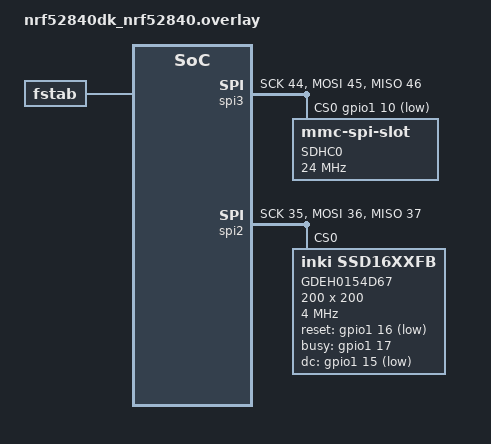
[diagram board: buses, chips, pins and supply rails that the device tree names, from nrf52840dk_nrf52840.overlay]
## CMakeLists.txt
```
# Copyright (c) 2022 INKI-Systems Inc
# Licensed under GPL 3

cmake_minimum_required(VERSION 3.20.0)
set(NO_BUILD_TYPE_WARNING 1)
find_package(Zephyr REQUIRED HINTS $ENV{ZEPHYR_BASE})
project(inki_firmware)

enable_language(ASM)

set(WAMR_BUILD_PLATFORM "zephyr")
if (CONFIG_SOC_SERIES_NRF52X)
  set(WAMR_BUILD_TARGET "THUMBV7")
elseif (CONFIG_SOC_SERIES_NRF53X)
  set(WAMR_BUILD_TARGET "THUMBV8M")
else()
  set(WAMR_BUILD_TARGET "THUMBV7")
endif()

set(WAMR_BUILD_INTERP 0)
set(WAMR_BUILD_AOT 1)
set(WAMR_BUILD_JIT 0)
set(WAMR_BUILD_APP_FRAMEWORK 1)
set(WAMR_BUILD_SHARED_MEMORY 1)
set(WAMR_BUILD_LIBC_WASI 0)
set(WAMR_BUILD_LIBC_BUILTIN 1)
set(WAMR_BUILD_FAST_INTERP 0)
set(WAMR_BUILD_LIB_PTHREAD 0)
set(WAMR_BUILD_MULTI_MODULE 1)
set(WAMR_BUILD_MINI_LOADER 0)
set (WAMR_BUILD_APP_LIST WAMR_APP_BUILD_BASE)

add_definitions(-DMARK_ONE=1)

set (LV_CONF_PATH
    ${CMAKE_CURRENT_SOURCE_DIR}/src/lv_conf.h
    CACHE STRING "" FORCE)

set (WAMR_ROOT_DIR
    ${CMAKE_CURRENT_SOURCE_DIR}/wasm)

set (MCUBOOT_DIR $ENV{ZEPHYR_BASE}/../bootloader/mcuboot)


if (CONFIG_SOC_SERIES_NRF52X)

  add_compile_options(-fdata-sections -ffunction-sections -march=armv7e-m -mfpu=fpv4-sp-d16 -mfloat-abi=softfp)
  add_link_options(-Wl,--gc-sections, -mfpu=fpv4-sp-d16 -mfloat-abi=softfp)


elseif(CONFIG_SOC_SERIES_NRF53X)

  add_compile_options(-fdata-sections -ffunction-sections -march=armv8-m.main+dsp -mfpu=fpv5-sp-d16 -mfloat-abi=softfp)
  add_link_options(-Wl,--gc-sections, -mfpu=fpv5-sp-d16 -mfloat-abi=softfp)

endif()

add_link_options(-Wl,--gc-sections)

add_subdirectory(lvgl)
include (${WAMR_ROOT_DIR}/build-scripts/runtime_lib.cmake) 

file(GLOB_RECURSE app_sources src/*.c)
target_sources(app PRIVATE ${app_sources})

file(GLOB_RECURSE inki_libs src/lib/*/*.c src/lib/*/*.h)
target_sources(app PRIVATE ${inki_libs})

target_sources(app PRIVATE ${WAMR_RUNTIME_LIB_SOURCE})

set(PM_STATIC_YML_FILE
  ${CMAKE_CURRENT_SOURCE_DIR}/pm_static.yml
  )

list(APPEND ZEPHYR_EXTRA_MODULES
  ${CMAKE_CURRENT_SOURCE_DIR}/src/lib/display
  ${CMAKE_CURRENT_SOURCE_DIR}/src/lib/fs
  ${CMAKE_CURRENT_SOURCE_DIR}/src/lib/lp_uarte
)

target_link_libraries(app PUBLIC lvgl -lgcc)
```

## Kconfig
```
# Copyright (c) 2022 INKI-Systems Inc
# Licensed under GPL 3

mainmenu "INKI Options"

config APP_INT_WIPE_STORAGE
	bool "Option to clear the internal flash area before mounting"
	help
	  Use this to force an existing file system to be created.

config APP_EXT_WIPE_STORAGE
	bool "Option to clear the external flash area before mounting"
	help
	  Use this to force an existing file system to be created.

config EFLASH_LOG_LEVEL
	int "Set log level for External SPI Flash (1 - Critical errors only, 2 - Warnings, 3 - Information)"

config IFLASH_LOG_LEVEL
	int "Set log level for Internal Flash (1 - Critical errors only, 2 - Warnings, 3 - Information)"
	
config QFLASH_LOG_LEVEL
	int "Set log level for Internal QSPI Flash (1 - Critical errors only, 2 - Warnings, 3 - Information)"

config VECTOR_LOG_LEVEL
	int "Set log level for vector api (1 - Critical errors only, 2 - Warnings, 3 - Information)"

config XIPAFS_LOG_LEVEL
	int "Set log level for eXecute In Place AoT File System (XIPAFS) api (1 - Critical errors only, 2 - Warnings, 3 - Information)"

source "Kconfig.zephyr"
rsource "src/lib/fs/Kconfig"
rsource "src/lib/display/Kconfig"
rsource "src/lib/lp_uarte/Kconfig"
```

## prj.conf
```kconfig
CONFIG_MULTITHREADING=y
CONFIG_MINIMAL_LIBC_MALLOC=y
CONFIG_THREAD_RUNTIME_STATS=y
CONFIG_HW_STACK_PROTECTION=y

#Bootloader
CONFIG_BOOTLOADER_MCUBOOT=y
CONFIG_MCUMGR=y
CONFIG_PM_PARTITION_SIZE_MCUBOOT_SECONDARY=0x00080000


#Inter-Core-Communication
CONFIG_INKI_LP_UARTE=y
CONFIG_INKI_LP_UARTE_RX_BUF_LEN=1024
CONFIG_INKI_LP_UARTE_TX_BUF_LEN=1024
CONFIG_INKI_LP_UARTE_NRF52=y
CONFIG_INKI_LP_UARTE_NRF53=n
CONFIG_INKI_LP_UARTE_IDENTIFIER="INKIM1"
CONFIG_INKI_LP_UARTE_CB_PTRS=8

#Internal Flash
CONFIG_FLASH_MAP=y
CONFIG_FLASH_PAGE_LAYOUT=y
CONFIG_MPU_ALLOW_FLASH_WRITE=y
CONFIG_SOC_FLASH_NRF_EMULATE_ONE_BYTE_WRITE_ACCESS=n

#USB
CONFIG_STDOUT_CONSOLE=y
CONFIG_USB=y
CONFIG_USB_DEVICE_STACK=y
CONFIG_USB_DEVICE_MANUFACTURER="INKI"
CONFIG_USB_DEVICE_PRODUCT="MARK ONE"
#CONFIG_USB_DFU_CLASS=y
CONFIG_USB_MASS_STORAGE=y
CONFIG_MASS_STORAGE_DISK_NAME="int_storage"
CONFIG_USB_DRIVER_LOG_LEVEL_INF=y
CONFIG_USB_DEVICE_LOG_LEVEL_INF=y
#CONFIG_IMG_MANAGER=y
CONFIG_USB_MASS_STORAGE_LOG_LEVEL_INF=y


#DISK FLASH DRIVER
CONFIG_DISK_DRIVER_FLASH=y
#NEEDED THESE OTHERWISE DUMB BUILD SYSTEM REFUSES TO BUILD GRRRR
CONFIG_DISK_FLASH_DEV_NAME="NRF_FLASH_DRV_NAME"
CONFIG_DISK_FLASH_VOLUME_NAME="int_storage"
CONFIG_DISK_FLASH_START=0x91000
CONFIG_DISK_VOLUME_SIZE=0x6F000
CONFIG_DISK_ERASE_BLOCK_SIZE=0x1000
CONFIG_DISK_FLASH_ERASE_ALIGNMENT=0x1000
CONFIG_DISK_FLASH_MAX_RW_SIZE=4

#WASM RUNTIME, ENCRYPTION, AND HASHING
CONFIG_STACK_SENTINEL=y
CONFIG_ARM_MPU=y
CONFIG_NORDIC_SECURITY_BACKEND=y
CONFIG_MBEDTLS_LIBRARY_NRF_SECURITY=y
CONFIG_MBEDTLS_ENABLE_HEAP=y
CONFIG_MBEDTLS_HEAP_SIZE=8192
CONFIG_MBEDTLS_PSA_CRYPTO_C=y
CONFIG_HARDWARE_DEVICE_CS_GENERATOR=y

#Interactive Shell
CONFIG_SHELL=y
CONFIG_SHELL_LOG_LEVEL_INF=y
CONFIG_FILE_SYSTEM_SHELL=n
CONFIG_SHELL_BACKEND_RTT=y
CONFIG_SHELL_BACKEND_SERIAL=n

#Disk wiping on reboot
CONFIG_APP_INT_WIPE_STORAGE=n
CONFIG_APP_EXT_WIPE_STORAGE=n

#LittleFS 
CONFIG_FLASH=y
CONFIG_FILE_SYSTEM=y
CONFIG_FILE_SYSTEM_LITTLEFS=y

#Peripherals
CONFIG_FPU=y
CONFIG_GPIO=y
CONFIG_FP_HARDABI=y
CONFIG_FPU_SHARING=y

#Logging
CONFIG_UART_CONSOLE=n #ignore warning, we are overriding uart usage.
CONFIG_USE_SEGGER_RTT=y
CONFIG_RTT_CONSOLE=y
CONFIG_LOG=y
CONFIG_LOG_RUNTIME_FILTERING=y
CONFIG_LOG_DEFAULT_LEVEL=4
CONFIG_LOG2_MODE_DEFERRED=y
CONFIG_LOG_TIMESTAMP_64BIT=y
CONFIG_LOG_BACKEND_SHOW_COLOR=y
CONFIG_EFLASH_LOG_LEVEL=3
CONFIG_QFLASH_LOG_LEVEL=3
CONFIG_IFLASH_LOG_LEVEL=3
CONFIG_VECTOR_LOG_LEVEL=3
CONFIG_XIPAFS_LOG_LEVEL=3
CONFIG_INKI_LP_UARTE_LOG_LEVEL=3

CONFIG_LOG_RUNTIME_FILTERING=y

#Buffer/Stack Sizes
CONFIG_MAIN_STACK_SIZE=8192
CONFIG_HEAP_MEM_POOL_SIZE=8192


#QSPI Flash
CONFIG_NORDIC_QSPI_NOR=y
CONFIG_NRFX_QSPI=y
CONFIG_XIP=y
CONFIG_INKI_XIPA_FS=y
CONFIG_XIPA_FS_NRF5XX=y
CONFIG_NORDIC_QSPI_NOR_STACK_WRITE_BUFFER_SIZE=4
CONFIG_NORDIC_QSPI_NOR_FLASH_LAYOUT_PAGE_SIZE=4096

#SDHC
CONFIG_DISK_ACCESS=y
CONFIG_FAT_FILESYSTEM_ELM=y
CONFIG_DISK_DRIVER_SDMMC=y
CONFIG_SPI=y
CONFIG_SPI_NRFX=y

#Display
CONFIG_INKI_DISPLAY=y
CONFIG_INKI_SSD16XX=y
```

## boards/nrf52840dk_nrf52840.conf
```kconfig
CONFIG_NRFX_PPI=y
CONFIG_ENTROPY_NRF5_RNG=y
CONFIG_NRF_ENABLE_ICACHE=y
CONFIG_CC3XX_BACKEND=y
CONFIG_HW_CC3XX=y
```

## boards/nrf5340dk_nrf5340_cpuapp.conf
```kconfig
CONFIG_NRFX_DPPI=y
CONFIG_NRF_ENABLE_CACHE=y

CONFIG_CC3XX_BACKEND=y
CONFIG_HW_CC3XX=y
```

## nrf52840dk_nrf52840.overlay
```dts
/delete-node/ &slot1_partition;
/delete-node/ &scratch_partition;
/delete-node/ &storage_partition;

/ {
	fstab {
		compatible = "zephyr,fstab";
		lfs1: lfs1 {
			compatible = "zephyr,fstab,littlefs";
			mount-point = "/int";
			partition = <&lfs1_part>;
			automount;
			read-size = <16>;
			prog-size = <16>;
			cache-size = <64>;
			lookahead-size = <32>;
			block-cycles = <512>;
		};
        lfs2: lfs2 {
			compatible = "zephyr,fstab,littlefs";
			mount-point = "/ext";
			partition = <&lfs2_part>;
			automount;
			read-size = <16>;
			prog-size = <16>;
			cache-size = <64>;
			lookahead-size = <32>;
			block-cycles = <512>;
		};
	};
};


&flash0 {

	partitions {
		compatible = "fixed-partitions";
		#address-cells = <1>;
		#size-cells = <1>;

		boot_partition: partition@0 {
			label = "mcuboot";
			reg = <0x000000000 0x0000C000>;
		};
		slot0_partition: partition@c000 {
			label = "image-0";
			reg = <0x0000C000 0x000B5960>;
		};
		scratch_partition: partition@c1960 {
			label = "override-scratch";
			reg = <0x000c1960 0x0001e000>;
		};

		/*
		 * The flash starting at 0x000f8000 and ending at
		 * 0x000fffff is reserved for use by the application.
		 */

		/*
		 * Storage partition will be used by FCB/LittleFS/NVS
		 * if enabled.
		 */
		lfs1_part: partition@e0000 {
			label = "int_storage";
			reg = <0x000e0000 0x00020000>;
		};
	};
};

&mx25r64 {
    partitions {
        compatible = "fixed-partitions";
        #address-cells = <1>;
        #size-cells = <1>;
        slot1_partition: partition@0 {
            label = "flash-image-1";
			reg = <0x000000000 0x000B6000>;
        };
        lfs2_part: partition@b6000 {
            label = "ext_storage";
            reg = <0x000B6000 0x03F4A000>;
        };
    };
};

&spi3 {
	status = "okay";
	cs-gpios = <&gpio1 10 GPIO_ACTIVE_LOW>;
	sck-pin = <44>;
    miso-pin = <46>;
    mosi-pin = <45>;
	sdhc0: sdhc@0 {
		compatible = "zephyr,mmc-spi-slot";
		reg = <0>;
		status = "okay";
		label = "SDHC0";
		spi-max-frequency = <24000000>;
	};
};

&spi2 {
	status = "okay";
	compatible = "nordic,nrf-spim";
	sck-pin = <35>;
	mosi-pin = <36>;
	miso-pin = <37>;
	inki,ssd16xxfb@0 {
		compatible = "inki,ssd16xxfb";
		pp-height-bits = <16>;
		pp-width-bits = <8>;
		gdv = [00];
		sdv = [41 a8 32];
		vcom = <0x00>;
		border-waveform = <0x05>;
		reset-gpios = <&gpio1 16 GPIO_ACTIVE_LOW>;	
		busy-gpios = <&gpio1 17 GPIO_ACTIVE_HIGH>;
		tssv = <0x80>;
		height = <200>;
		width = <200>;
		dc-gpios = <&gpio1 15 GPIO_ACTIVE_LOW>;
		label = "GDEH0154D67";
		spi-max-frequency = <4000000>;
		reg = <0>;
	};
};
```

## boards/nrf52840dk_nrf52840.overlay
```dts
/delete-node/ &slot1_partition;
/delete-node/ &scratch_partition;
/delete-node/ &storage_partition;
/delete-node/ &slot0_partition;

/ {
	chosen {
		nordic,pm-ext-flash = &mx25r64;
	};
};


/ {
	fstab {
		compatible = "zephyr,fstab";
		lfs1: lfs1 {
			compatible = "zephyr,fstab,littlefs";
			mount-point = "/int";
			partition = <&lfs1_part>;
			read-size = <16>;
			prog-size = <16>;
			cache-size = <64>;
			lookahead-size = <32>;
			block-cycles = <512>;
		};
		/*
        lfs2: lfs2 {
			compatible = "zephyr,fstab,littlefs";
			mount-point = "/ext";
			partition = <&lfs2_part>;
			read-size = <16>;
			prog-size = <16>;
			cache-size = <64>;
			lookahead-size = <32>;
			block-cycles = <512>;
		};
		*/
	};
};


&flash0 {

	partitions {
		compatible = "fixed-partitions";
		#address-cells = <1>;
		#size-cells = <1>;

		boot_partition: partition@0 {
			label = "mcuboot";
			reg = <0x00000000 0x00010000>;
		};
		mcuboot_pad: partition@10000 {
			label = "mcuboot-pad";
			reg = <0x00010000 0x00001000>;
		};
		slot0_partition: partition@11000 {
			label = "image-0";
			reg = <0x00011000 0x00080000>;
		};
		/*
		 * Storage partition will be used by FCB/LittleFS/NVS
		 * if enabled.
		 */
		lfs1_part: partition@91000 {
			label = "int_storage";
			reg = <0x00091000 0x0006F000>;
		};
	};
};

&mx25r64 {
    partitions {
        compatible = "fixed-partitions";
        #address-cells = <1>;
        #size-cells = <1>;
		xipa1_part: partition@00000 {
            label = "ext_storage";
            reg = <0x00000000 0x00780000>;
        };
        slot1_partition: partition@780000 {
            label = "flash-image-1";
			reg = <0x00780000 0x0080000>;
        };
    };
};

&spi3 {
	status = "okay";
	cs-gpios = <&gpio1 10 GPIO_ACTIVE_LOW>;
	sck-pin = <44>;
    miso-pin = <46>;
    mosi-pin = <45>;
	sdhc0: sdhc@0 {
		compatible = "zephyr,mmc-spi-slot";
		reg = <0>;
		status = "okay";
		label = "SDHC0";
		spi-max-frequency = <24000000>;
	};
};

&spi2 {
	status = "okay";
	compatible = "nordic,nrf-spim";
	sck-pin = <35>;
	mosi-pin = <36>;
	miso-pin = <37>;
	inki,ssd16xxfb@0 {
		compatible = "inki,ssd16xxfb";
		pp-height-bits = <16>;
		pp-width-bits = <8>;
		gdv = [00];
		sdv = [41 a8 32];
		vcom = <0x00>;
		border-waveform = <0x05>;
		reset-gpios = <&gpio1 16 GPIO_ACTIVE_LOW>;	
		busy-gpios = <&gpio1 17 GPIO_ACTIVE_HIGH>;
		tssv = <0x80>;
		height = <200>;
		width = <200>;
		dc-gpios = <&gpio1 15 GPIO_ACTIVE_LOW>;
		label = "GDEH0154D67";
		spi-max-frequency = <4000000>;
		reg = <0>;
	};
};
```

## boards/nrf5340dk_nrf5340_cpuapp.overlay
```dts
/delete-node/ &slot1_partition;
/delete-node/ &scratch_partition;
/delete-node/ &storage_partition;
/delete-node/ &slot0_partition;
/delete-node/ &slot0_ns_partition;
/delete-node/ &slot1_ns_partition;


/ {
	chosen {
		nordic,pm-ext-flash = &mx25r64;
	};
};


/ {
	fstab {
		compatible = "zephyr,fstab";
		lfs1: lfs1 {
			compatible = "zephyr,fstab,littlefs";
			mount-point = "/int";
			partition = <&lfs1_part>;
			read-size = <16>;
			prog-size = <16>;
			cache-size = <64>;
			lookahead-size = <32>;
			block-cycles = <512>;
		};
		/*
        lfs2: lfs2 {
			compatible = "zephyr,fstab,littlefs";
			mount-point = "/ext";
			partition = <&lfs2_part>;
			read-size = <16>;
			prog-size = <16>;
			cache-size = <64>;
			lookahead-size = <32>;
			block-cycles = <512>;
		};
		*/
	};
};


&flash0 {

	partitions {
		compatible = "fixed-partitions";
		#address-cells = <1>;
		#size-cells = <1>;

		boot_partition: partition@0 {
			label = "mcuboot";
			reg = <0x00000000 0x00010000>;
		};
		mcuboot_pad: partition@10000 {
			label = "mcuboot-pad";
			reg = <0x00010000 0x00001000>;
		};
		slot0_partition: partition@11000 {
			label = "image-0";
			reg = <0x00011000 0x00080000>;
		};
		/*
		 * Storage partition will be used by FCB/LittleFS/NVS
		 * if enabled.
		 */
		lfs1_part: partition@91000 {
			label = "int_storage";
			reg = <0x00091000 0x0006F000>;
		};
	};
};

&mx25r64 {
    partitions {
        compatible = "fixed-partitions";
        #address-cells = <1>;
        #size-cells = <1>;
		xipa1_part: partition@00000 {
            label = "ext_storage";
            reg = <0x00000000 0x00780000>;
        };
        slot1_partition: partition@780000 {
            label = "flash-image-1";
			reg = <0x00780000 0x0080000>;
        };
    };
};

&spi3 {
	status = "okay";
    compatible = "nordic,nrf-spim";
	cs-gpios = <&gpio1 10 GPIO_ACTIVE_LOW>;
	sck-pin = <44>;
    miso-pin = <46>;
    mosi-pin = <45>;
	sdhc0: sdhc@0 {
		compatible = "zephyr,mmc-spi-slot";
		reg = <0>;
		status = "okay";
		label = "SDHC0";
		spi-max-frequency = <24000000>;
	};
};

&spi2 {
	status = "okay";
	compatible = "nordic,nrf-spim";
	sck-pin = <38>;
	mosi-pin = <36>;
	miso-pin = <37>;
	inki,ssd16xxfb@0 {
		compatible = "inki,ssd16xxfb";
		pp-height-bits = <16>;
		pp-width-bits = <8>;
		gdv = [00];
		sdv = [41 a8 32];
		vcom = <0x00>;
		border-waveform = <0x05>;
		reset-gpios = <&gpio1 16 GPIO_ACTIVE_LOW>;	
		busy-gpios = <&gpio1 17 GPIO_ACTIVE_HIGH>;
		tssv = <0x80>;
		height = <200>;
		width = <200>;
		dc-gpios = <&gpio1 15 GPIO_ACTIVE_LOW>;
		label = "GDEH0154D67";
		spi-max-frequency = <4000000>;
		reg = <0>;
	};
};
```

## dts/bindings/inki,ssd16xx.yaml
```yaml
# Copyright (c) 2018, Phytec Messtechnik GmbH
# SPDX-License-Identifier: Apache-2.0

description: SSD16XX 250x150 EPD display controller

compatible: "inki,ssd16xxfb"

include: spi-device.yaml

properties:
    height:
      type: int
      required: true
      description: Height in pixel of the panel driven by the controller

    width:
      type: int
      required: true
      description: Width in pixel of the panel driven by the controller

    pp-height-bits:
      type: int
      required: true
      description: Number of bits used for the height parameters

    pp-width-bits:
      type: int
      required: true
      description: Number of bits used for the width parameters

    gdv:
      type: uint8-array
      required: true
      description: Gate driving voltage values

    sdv:
      type: uint8-array
      required: true
      description: Source driving voltage values

    vcom:
      type: int
      required: true
      description: VCOM voltage

    border-waveform:
      type: int
      required: true
      description: Border waveform

    softstart:
      type: uint8-array
      required: false
      description: Booster soft start values

    orientation-flipped:
      type: boolean
      required: false
      description: Last column address is mapped to first segment

    reset-gpios:
      type: phandle-array
      required: true
      description: RESET pin.

        The RESET pin of SSD16XX is active low.
        If connected directly the MCU pin should be configured
        as active low.

    dc-gpios:
      type: phandle-array
      required: true
      description: DC pin.

        The DC pin of SSD16XX is active low (transmission command byte).
        If connected directly the MCU pin should be configured
        as active low.

    busy-gpios:
      type: phandle-array
      required: true
      description: BUSY pin.

        The BUSY pin of SSD16XX is active high.
        If connected directly the MCU pin should be configured
        as active high.

    lut-initial:
      type: uint8-array
      required: false

    lut-default:
      type: uint8-array
      required: false

    tssv:
      type: int
      required: false
      description: Temperature Sensor Selection Value

        Display controller can have integrated temperature sensor or
        an external temperature sensor is connected to the controller.
        The value selects which sensor should be used.
```

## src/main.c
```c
/*
 * Copyright (c) 2022 INKI-Systems Inc.
 *
 * Licensed under GPL 3
 * 
 */

#include <zephyr.h>
#include <device.h>
#include <devicetree.h>
#include <drivers/gpio.h>
#include <logging/log.h>
#include <lvgl.h>
#include "wasm_export.h"
#include <stdio.h>
#include <stdlib.h>
#include <string.h>
#include "lib/disk/disk.h"
#include "lib/d_vector/vector.h"
#include "lib/fs/xipafs.h"
#include <usb/usb_device.h>	
#include <drivers/display.h>


typedef struct AppThread {
    wasm_exec_env_t exec_env;
    int start;
    int length;
} AppThread;

LOG_MODULE_REGISTER(main, CONFIG_LOG_DEFAULT_LEVEL);
INT_FLASH_DEFINE(inki_flash);
INT_QSPIFLASH_DEFINE(inki_qflash);
VECTOR_INIT(disk_vector);

static struct baseDisk* inki_flash_ptr = (struct baseDisk *)&inki_flash;
static struct baseDisk* inki_qflash_ptr = (struct baseDisk *)&inki_qflash;
static struct vector* disk_vector_ptr = &disk_vector;

#if DT_NODE_HAS_STATUS(DT_INST(0, inki_ssd16xxfb), okay)
#define DISPLAY_DEV_NAME DT_LABEL(DT_INST(0, inki_ssd16xxfb))
#endif

static lv_disp_draw_buf_t disp_buf;



static uint8_t LV_TICK_INCREMENT_MS = 4;

static lv_color_t buf_1[ DT_PROP(DT_INST(0, inki_ssd16xxfb), width) * DT_PROP(DT_INST(0, inki_ssd16xxfb), height) / 10 ]; //Above 1/10th sized buffer, there is no performance gain
static lv_color_t buf_1[ DT_PROP(DT_INST(0, inki_ssd16xxfb), width) * DT_PROP(DT_INST(0, inki_ssd16xxfb), height) / 10 ]; //Above 1/10th sized buffer,


//Recursive exponentiation by squaring algorithm
int exp(int x, int n)
{
	if(n < 0)
	{
		return exp(1 / x, -n);
	}
	else if (n == 0)
	{
		return 1;
	}
	else if (n == 1)
	{
		return x;
	}
	else if (n % 2 == 0)
	{
		return exp(x*x, n/2);
	}
	else if (n % 2 == 1)
	{
		return x * exp(x*x, (n-1)/2);
	}
	return 0;
}

static char sandboxedMemory[128 * 1000] = {0 };

//For now, code execution and storage only possible from external or internal flash -> NOT ANYMORE!! WE CAN ITERATE OVER ANY DISK POINTER
//AND LOAD FROM ANY MEDIUM INTO RAM YAAAAYYYY!!
int file_to_int_ram(const char* filename)
{
	int rc;
	uint8_t* ret_buf;
	for (int i = 0; i < vector_length(disk_vector_ptr); i ++)
	{
		struct baseDisk* temp_ptr = (struct baseDisk*) vector_get(disk_vector_ptr, i);
		if(base_get_file_path(temp_ptr, filename)==1)
		{
			struct fs_dirent dirent;
			rc = fs_stat(temp_ptr->fname, &dirent);
			if(rc < 0)
			{
				LOG_ERR("Filepath read error");
				return rc;
			}
			struct fs_file_t file;
			fs_file_t_init(&file);
			rc = fs_open(&file, temp_ptr->fname, FS_O_READ);
			if(rc < 0)
			{
				LOG_ERR("File read error");
				return rc;
			}
			//Problem: I need to read the entire file into memory before I can execute it. That limits things a lot.
			uint8_t* ret_buf = (uint8_t*)malloc(dirent.size);
			if(!ret_buf)
			{
				LOG_ERR("malloc error!");
				return NULL;
			}
			rc = fs_read(&file, ret_buf, dirent.size);
			if(rc < 0)
			{
				LOG_ERR("IO Error");
				return NULL;
			}
			return ret_buf;
		}
	}
	return NULL;
}

static bool module_reader_cb(const char* module_name, uint8_t **p_buffer, uint32_t *p_size)
{
	const char filename[MAX_FS_PATH_LENGTH];
	snprintf(filename, sizeof(filename), "%s.wasm", module_name);
	//read_wasm_binary_to_buffer
	
}

void main(void)
{
	LOG_INF("Reached main.c");
	/*
	const struct device *display_dev;
	struct display_capabilities capabilities;
	display_dev = device_get_binding(DISPLAY_DEV_NAME);
	if (display_dev == NULL) {
		LOG_ERR("Display %s not found!",
			DISPLAY_DEV_NAME);
	}
	for (int i = 0; i < sizeof(MARK1_BOOT_IMG_map); i++)
	{
		display_write(display_dev, 0, 0
	}
	*/

	LOG_INF("Initialising internal flash");
	intFlash_setup(&inki_flash);
	intQSPIFlash_setup(&inki_qflash);

	base_init(inki_flash_ptr, NULL);	
	base_init(inki_qflash_ptr, NULL);

	vector_init(disk_vector_ptr, VECTOR_DEFAULT_SIZE, sizeof(inki_flash_ptr)); 
	vector_push_back(disk_vector_ptr, inki_flash_ptr);
	vector_push_back(disk_vector_ptr, inki_qflash_ptr);

	//Soon(TM) -> autodiscover and add more disks to array. Maximum disks shall be 5 for now. 

	//TODO - TEST AND DEBUG DISK API -> DONE YAY!
	//TODO - MCUBOOT INTEGRATION -> DONE YAY!
	//TODO - FIGURE OUT WHY MCUBOOT WON'T LOG TO RTT -> I GIVE UP -> Moving to uart, that'll probably fix it! -> still didn't work -> I give up
	//TODO - REDUCE BINARY SIZE SO I CAN ACTUALLY WRITE CODE -> DONE YAY!
	//TODO - USB DFU TESTING -> DONE AND TESTED YAY!!
	//TODO - Figure out why USB MASS STORAGE CONFLICTS WITH USB DFU?? -> I am blind and can't read docs - can't act as both at the same time!
	//TODO - Get USB MASS WORKING AND MOUNTED ON LINUX -> DONE YAY!!
	//TODO - WAMR INTEGRATION -> Basically done YAY!!
	//TODO - DYNAMIC ALLOCATION OF SPACE FOR DISK POINTERS -> DONE YAY!!
	//TODO NEXT - UNIT TESTS FOR VECTOR CLASS, AND LOOK INTO BEHAVIOR OF MEMCPY AND MEMSET WITH ONLY POINTERS.
	//TODO NEXT - PORT LVGL TO WAMR (EXPOSE METHODS SOMEHOW) AND PORT MENU & WATCHFACE CODE -> Sorta know how, time to do it!
	//TODO NEXT - Configure MCU to generate a memory protection fault on write accesses to flash and other execute-only areas - DETECT MEMORY LEAKS/MEMORY CORRUPTION.

	LOG_INF("Initialising USB Mass Storage");

	if((int)usb_enable(NULL) < 0)
	{
		LOG_ERR("FAIL: USB not initialised");
		return;
	}
	LOG_INF("Initialising WAMR Runtime");
	
	bool ret = false;
    /* 8K */
    const uint32_t stack_size = 8 * 1024;
    const uint32_t heap_size = 16 * 1024;

    RuntimeInitArgs init_args = { 0 };
    char error_buf[128] = { 0 };
    /* parameters and return values */
    char *args[1] = { 0 };

    uint8_t *file_buf = NULL;
    uint32_t file_buf_size = 0;
    wasm_module_t module = NULL;
    wasm_module_inst_t module_inst = NULL;

	init_args.mem_alloc_type = Alloc_With_Pool;
    init_args.mem_alloc_option.pool.heap_buf = sandboxedMemory;
    init_args.mem_alloc_option.pool.heap_size = sizeof(sandboxedMemory);


	if(!wasm_runtime_full_init(&init_args))
	{
		LOG_ERR("Could not initialise WAMR runtime!");
		return;
	}
	
	//wasm_runtime_init();
	lv_init();


}
```

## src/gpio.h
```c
#define READ_PREVIOUS digitalRead(PIN_BUTTON2)
#define READ_NEXT digitalRead(PIN_BUTTON1)
#define READ_ENTER digitalRead(PIN_BUTTON3)
#define READ_ESC digitalRead(PIN_BUTTON4)
#define PREVIOUS_PRESSED 4
#define NEXT_PRESSED 3
#define ENTER_PRESSED 1
#define ESC_PRESSED 2
```

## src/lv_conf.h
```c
 /**
 * @file lv_conf.h
 * Configuration file for v8.0.1
 */

/*
 * COPY THIS FILE AS `lv_conf.h` NEXT TO the `lvgl` FOLDER
 */

#if 1 /*Set it to "1" to enable content*/

#ifndef LV_CONF_H
#define LV_CONF_H
/*clang-format off*/

#include <stdint.h>


/*====================
   COLOR SETTINGS
 *====================*/

/*Color depth: 1 (1 byte per pixel), 8 (RGB332), 16 (RGB565), 32 (ARGB8888)*/
#define LV_COLOR_DEPTH     1

/*Swap the 2 bytes of RGB565 color. Useful if the display has a 8 bit interface (e.g. SPI)*/
#define LV_COLOR_16_SWAP   0

/*Enable more complex drawing routines to manage screens transparency.
 *Can be used if the UI is above another layer, e.g. an OSD menu or video player.
 *Requires `LV_COLOR_DEPTH = 32` colors and the screen's `bg_opa` should be set to non LV_OPA_COVER value*/
#define LV_COLOR_SCREEN_TRANSP    0

/*Images pixels with this color will not be drawn if they are  chroma keyed)*/
#define LV_COLOR_CHROMA_KEY    lv_color_hex(0x00ff00)         /*pure green*/

/*=========================
   MEMORY SETTINGS
 *=========================*/

/*1: use custom malloc/free, 0: use the built-in `lv_mem_alloc()` and `lv_mem_free()`*/
#define LV_MEM_CUSTOM      0
#if LV_MEM_CUSTOM == 0
/*Size of the memory available for `lv_mem_alloc()` in bytes (>= 2kB)*/
#  define LV_MEM_SIZE    (32U * 1024U)          /*[bytes]*/

/*Set an address for the memory pool instead of allocating it as a normal array. Can be in external SRAM too.*/
#  define LV_MEM_ADR          0     /*0: unused*/
#else       /*LV_MEM_CUSTOM*/
#  define LV_MEM_CUSTOM_INCLUDE <stdlib.h>   /*Header for the dynamic memory function*/
#  define LV_MEM_CUSTOM_ALLOC     malloc
#  define LV_MEM_CUSTOM_FREE      free
#  define LV_MEM_CUSTOM_REALLOC   realloc
#endif     /*LV_MEM_CUSTOM*/

/*Use the standard `memcpy` and `memset` instead of LVGL's own functions. (Might or might not be faster).*/
#define LV_MEMCPY_MEMSET_STD    0

/*====================
   HAL SETTINGS
 *====================*/

/*Default display refresh period. LVG will redraw changed ares with this period time*/
#define LV_DISP_DEF_REFR_PERIOD     30      /*[ms]*/

/*Input device read period in milliseconds*/
#define LV_INDEV_DEF_READ_PERIOD    30      /*[ms]*/

/*Use a custom tick source that tells the elapsed time in milliseconds.
 *It removes the need to manually update the tick with `lv_tick_inc()`)*/
#define LV_TICK_CUSTOM     0
#if LV_TICK_CUSTOM
#define LV_TICK_CUSTOM_INCLUDE  "Arduino.h"         /*Header for the system time function*/
#define LV_TICK_CUSTOM_SYS_TIME_EXPR (millis())     /*Expression evaluating to current system time in ms*/
#endif   /*LV_TICK_CUSTOM*/

/*Default Dot Per Inch. Used to initialize default sizes such as widgets sized, style paddings.
 *(Not so important, you can adjust it to modify default sizes and spaces)*/
#define LV_DPI_DEF                  160     /*[px/inch]*/

/*=======================
 * FEATURE CONFIGURATION
 *=======================*/

/*-------------
 * Drawing
 *-----------*/

/*Enable complex draw engine.
 *Required to draw shadow, gradient, rounded corners, circles, arc, skew lines, image transformations or any masks*/
#define LV_DRAW_COMPLEX 1
#if LV_DRAW_COMPLEX != 0

/*Allow buffering some shadow calculation.
 *LV_SHADOW_CACHE_SIZE is the max. shadow size to buffer, where shadow size is `shadow_width + radius`
 *Caching has LV_SHADOW_CACHE_SIZE^2 RAM cost*/
#define LV_SHADOW_CACHE_SIZE    0
#endif /*LV_DRAW_COMPLEX*/

/*Default image cache size. Image caching keeps the images opened.
 *If only the built-in image formats are used there is no real advantage of caching. (I.e. if no new image decoder is added)
 *With complex image decoders (e.g. PNG or JPG) caching can save the continuous open/decode of images.
 *However the opened images might consume additional RAM.
 *0: to disable caching*/
#define LV_IMG_CACHE_DEF_SIZE       0

/*Maximum buffer size to allocate for rotation. Only used if software rotation is enabled in the display driver.*/
#define LV_DISP_ROT_MAX_BUF         (10*1024)
/*-------------
 * GPU
 *-----------*/

/*Use STM32's DMA2D (aka Chrom Art) GPU*/
#define LV_USE_GPU_STM32_DMA2D  0
#if LV_USE_GPU_STM32_DMA2D
/*Must be defined to include path of CMSIS header of target processor
e.g. "stm32f769xx.h" or "stm32f429xx.h"*/
#define LV_GPU_DMA2D_CMSIS_INCLUDE
#endif

/*Use NXP's PXP GPU iMX RTxxx platforms*/
#define LV_USE_GPU_NXP_PXP      0
#if LV_USE_GPU_NXP_PXP
/*1: Add default bare metal and FreeRTOS interrupt handling routines for PXP (lv_gpu_nxp_pxp_osa.c)
 *   and call lv_gpu_nxp_pxp_init() automatically during lv_init(). Note that symbol FSL_RTOS_FREE_RTOS
 *   has to be defined in order to use FreeRTOS OSA, otherwise bare-metal implementation is selected.
 *0: lv_gpu_nxp_pxp_init() has to be called manually before lv_init()
 */
#define LV_USE_GPU_NXP_PXP_AUTO_INIT 0
#endif

/*Use NXP's VG-Lite GPU iMX RTxxx platforms*/
#define LV_USE_GPU_NXP_VG_LITE   0

/*-------------
 * Logging
 *-----------*/

/*Enable the log module*/
#define LV_USE_LOG      1
#if LV_USE_LOG

/*How important log should be added:
 *LV_LOG_LEVEL_TRACE       A lot of logs to give detailed information
 *LV_LOG_LEVEL_INFO        Log important events
 *LV_LOG_LEVEL_WARN        Log if something unwanted happened but didn't cause a problem
 *LV_LOG_LEVEL_ERROR       Only critical issue, when the system may fail
 *LV_LOG_LEVEL_USER        Only logs added by the user
 *LV_LOG_LEVEL_NONE        Do not log anything*/
#  define LV_LOG_LEVEL    LV_LOG_LEVEL_INFO

/*1: Print the log with 'printf';
 *0: User need to register a callback with `lv_log_register_print_cb()`*/
#  define LV_LOG_PRINTF   0

/*Enable/disable LV_LOG_TRACE in modules that produces a huge number of logs*/
#  define LV_LOG_TRACE_MEM            0
#  define LV_LOG_TRACE_TIMER          0
#  define LV_LOG_TRACE_INDEV          1
#  define LV_LOG_TRACE_DISP_REFR      0
#  define LV_LOG_TRACE_EVENT          1
#  define LV_LOG_TRACE_OBJ_CREATE     1
#  define LV_LOG_TRACE_LAYOUT         1
#  define LV_LOG_TRACE_ANIM           1

#endif  /*LV_USE_LOG*/

/*-------------
 * Asserts
 *-----------*/

/*Enable asserts if an operation is failed or an invalid data is found.
 *If LV_USE_LOG is enabled an error message will be printed on failure*/
#define LV_USE_ASSERT_NULL          1   /*Check if the parameter is NULL. (Very fast, recommended)*/
#define LV_USE_ASSERT_MALLOC        1   /*Checks is the memory is successfully allocated or no. (Very fast, recommended)*/
#define LV_USE_ASSERT_STYLE         1  /*Check if the styles are properly initialized. (Very fast, recommended)*/
#define LV_USE_ASSERT_MEM_INTEGRITY 0  /*Check the integrity of `lv_mem` after critical operations. (Slow)*/
#define LV_USE_ASSERT_OBJ           0   /*Check the object's type and existence (e.g. not deleted). (Slow)*/

/*Add a custom handler when assert happens e.g. to restart the MCU*/
#define LV_ASSERT_HANDLER_INCLUDE   <stdint.h>
#define LV_ASSERT_HANDLER   while(1);   /*Halt by default*/

/*-------------
 * Others
 *-----------*/

/*1: Show CPU usage and FPS count in the right bottom corner*/
#define LV_USE_PERF_MONITOR     0

/*1: Show the used memory and the memory fragmentation  in the left bottom corner
 * Requires LV_MEM_CUSTOM = 0*/
#define LV_USE_MEM_MONITOR      0

/*1: Draw random colored rectangles over the redrawn areas*/
#define LV_USE_REFR_DEBUG       0

/*Change the built in (v)snprintf functions*/
#define LV_SPRINTF_CUSTOM   0
#if LV_SPRINTF_CUSTOM
#  define LV_SPRINTF_INCLUDE <stdio.h>
#  define lv_snprintf     snprintf
#  define lv_vsnprintf    vsnprintf
#else   /*LV_SPRINTF_CUSTOM*/
#  define LV_SPRINTF_USE_FLOAT 0
#endif  /*LV_SPRINTF_CUSTOM*/

#define LV_USE_USER_DATA      1

/*Garbage Collector settings
 *Used if lvgl is binded to higher level language and the memory is managed by that language*/
#define LV_ENABLE_GC 0
#if LV_ENABLE_GC != 0
#  define LV_GC_INCLUDE "gc.h"                           /*Include Garbage Collector related things*/
#endif /*LV_ENABLE_GC*/

/*=====================
 *  COMPILER SETTINGS
 *====================*/

/*For big endian systems set to 1*/
#define LV_BIG_ENDIAN_SYSTEM    0

/*Define a custom attribute to `lv_tick_inc` function*/
#define LV_ATTRIBUTE_TICK_INC

/*Define a custom attribute to `lv_timer_handler` function*/
#define LV_ATTRIBUTE_TIMER_HANDLER

/*Define a custom attribute to `lv_disp_flush_ready` function*/
#define LV_ATTRIBUTE_FLUSH_READY

/*Required alignment size for buffers*/
#define LV_ATTRIBUTE_MEM_ALIGN_SIZE

/*Will be added where memories needs to be aligned (with -Os data might not be aligned to boundary by default).
 * E.g. __attribute__((aligned(4)))*/
#define LV_ATTRIBUTE_MEM_ALIGN

/*Attribute to mark large constant arrays for example font's bitmaps*/
#define LV_ATTRIBUTE_LARGE_CONST

/*Complier prefix for a big array declaration in RAM*/
#define LV_ATTRIBUTE_LARGE_RAM_ARRAY

/*Place performance critical functions into a faster memory (e.g RAM)*/
#define LV_ATTRIBUTE_FAST_MEM

/*Prefix variables that are used in GPU accelerated operations, often these need to be placed in RAM sections that are DMA accessible*/
#define LV_ATTRIBUTE_DMA

/*Export integer constant to binding. This macro is used with constants in the form of LV_<CONST> that
 *should also appear on LVGL binding API such as Micropython.*/
#define LV_EXPORT_CONST_INT(int_value) struct _silence_gcc_warning /*The default value just prevents GCC warning*/

/*Extend the default -32k..32k coordinate range to -4M..4M by using int32_t for coordinates instead of int16_t*/
#define LV_USE_LARGE_COORD  0

/*==================
 *   FONT USAGE
 *===================*/

/*Montserrat fonts with ASCII range and some symbols using bpp = 4
 *https://fonts.google.com/specimen/Montserrat*/
#define LV_FONT_MONTSERRAT_8     0
#define LV_FONT_MONTSERRAT_10    0
#define LV_FONT_MONTSERRAT_12    0
#define LV_FONT_MONTSERRAT_14    1
#define LV_FONT_MONTSERRAT_16    0
#define LV_FONT_MONTSERRAT_18    0
#define LV_FONT_MONTSERRAT_20    0
#define LV_FONT_MONTSERRAT_22    0
#define LV_FONT_MONTSERRAT_24    0
#define LV_FONT_MONTSERRAT_26    0
#define LV_FONT_MONTSERRAT_28    0
#define LV_FONT_MONTSERRAT_30    1
#define LV_FONT_MONTSERRAT_32    0
#define LV_FONT_MONTSERRAT_34    0
#define LV_FONT_MONTSERRAT_36    0
#define LV_FONT_MONTSERRAT_38    0
#define LV_FONT_MONTSERRAT_40    1
#define LV_FONT_MONTSERRAT_42    0
#define LV_FONT_MONTSERRAT_44    0
#define LV_FONT_MONTSERRAT_46    0
#define LV_FONT_MONTSERRAT_48    0

/*Demonstrate special features*/
#define LV_FONT_MONTSERRAT_12_SUBPX      0
#define LV_FONT_MONTSERRAT_28_COMPRESSED 0  /*bpp = 3*/
#define LV_FONT_DEJAVU_16_PERSIAN_HEBREW 0  /*Hebrew, Arabic, Perisan letters and all their forms*/
#define LV_FONT_SIMSUN_16_CJK            0  /*1000 most common CJK radicals*/

/*Pixel perfect monospace fonts*/
#define LV_FONT_UNSCII_8        0
#define LV_FONT_UNSCII_16       0

/*Optionally declare custom fonts here.
 *You can use these fonts as default font too and they will be available globally.
 *E.g. #define LV_FONT_CUSTOM_DECLARE   LV_FONT_DECLARE(my_font_1) LV_FONT_DECLARE(my_font_2)*/
#define LV_FONT_CUSTOM_DECLARE LV_FONT_DECLARE(hyperlegible_20) LV_FONT_DECLARE(hyperlegible_13) LV_FONT_DECLARE(hyperlegible_30) LV_FONT_DECLARE(hyperlegible_72) LV_FONT_DECLARE(hyperlegible_10) LV_FONT_DECLARE(extra_symbols_40);

/*Always set a default font*/
#define LV_FONT_DEFAULT &lv_font_montserrat_14

/*Enable handling large font and/or fonts with a lot of characters.
 *The limit depends on the font size, font face and bpp.
 *Compiler error will be triggered if a font needs it.*/
#define LV_FONT_FMT_TXT_LARGE   0

/*Enables/disables support for compressed fonts.*/
#define LV_USE_FONT_COMPRESSED  0

/*Enable subpixel rendering*/
#define LV_USE_FONT_SUBPX       0
#if LV_USE_FONT_SUBPX
/*Set the pixel order of the display. Physical order of RGB channels. Doesn't matter with "normal" fonts.*/
#define LV_FONT_SUBPX_BGR       0  /*0: RGB; 1:BGR order*/
#endif

/*=================
 *  TEXT SETTINGS
 *=================*/

/**
 * Select a character encoding for strings.
 * Your IDE or editor should have the same character encoding
 * - LV_TXT_ENC_UTF8
 * - LV_TXT_ENC_ASCII
 */
#define LV_TXT_ENC LV_TXT_ENC_UTF8

 /*Can break (wrap) texts on these chars*/
#define LV_TXT_BREAK_CHARS                  " ,.;:-_"

/*If a word is at least this long, will break wherever "prettiest"
 *To disable, set to a value <= 0*/
#define LV_TXT_LINE_BREAK_LONG_LEN          0

/*Minimum number of characters in a long word to put on a line before a break.
 *Depends on LV_TXT_LINE_BREAK_LONG_LEN.*/
#define LV_TXT_LINE_BREAK_LONG_PRE_MIN_LEN  3

/*Minimum number of characters in a long word to put on a line after a break.
 *Depends on LV_TXT_LINE_BREAK_LONG_LEN.*/
#define LV_TXT_LINE_BREAK_LONG_POST_MIN_LEN 3

/*The control character to use for signalling text recoloring.*/
#define LV_TXT_COLOR_CMD "#"

/*Support bidirectional texts. Allows mixing Left-to-Right and Right-to-Left texts.
 *The direction will be processed according to the Unicode Bidirectioanl Algorithm:
 *https://www.w3.org/International/articles/inline-bidi-markup/uba-basics*/
#define LV_USE_BIDI         0
#if LV_USE_BIDI
/*Set the default direction. Supported values:
 *`LV_BASE_DIR_LTR` Left-to-Right
 *`LV_BASE_DIR_RTL` Right-to-Left
 *`LV_BASE_DIR_AUTO` detect texts base direction*/
#define LV_BIDI_BASE_DIR_DEF  LV_BASE_DIR_AUTO
#endif

/*Enable Arabic/Persian processing
 *In these languages characters should be replaced with an other form based on their position in the text*/
#define LV_USE_ARABIC_PERSIAN_CHARS 0

/*==================
 *  WIDGET USAGE
 *================*/

/*Documentation of the widgets: https://docs.lvgl.io/latest/en/html/widgets/index.html*/

#define LV_USE_ARC          1

#define LV_USE_ANIMIMG	    1

#define LV_USE_BAR          1

#define LV_USE_BTN          1

#define LV_USE_BTNMATRIX    1

#define LV_USE_CANVAS       1

#define LV_USE_CHECKBOX     1


#define LV_USE_DROPDOWN     1   /*Requires: lv_label*/

#define LV_USE_IMG          1   /*Requires: lv_label*/

#define LV_USE_LABEL        1
#if LV_USE_LABEL
#  define LV_LABEL_TEXT_SELECTION         1   /*Enable selecting text of the label*/
#  define LV_LABEL_LONG_TXT_HINT    1   /*Store some extra info in labels to speed up drawing of very long texts*/
#endif

#define LV_USE_LINE         1

#define LV_USE_ROLLER       1   /*Requires: lv_label*/
#if LV_USE_ROLLER
#  define LV_ROLLER_INF_PAGES       7   /*Number of extra "pages" when the roller is infinite*/
#endif

#define LV_USE_SLIDER       1   /*Requires: lv_bar*/

#define LV_USE_SWITCH    1

#define LV_USE_TEXTAREA   1     /*Requires: lv_label*/
#if LV_USE_TEXTAREA != 0
#  define LV_TEXTAREA_DEF_PWD_SHOW_TIME     1500    /*ms*/
#endif

#define LV_USE_TABLE  1

/*==================
 * EXTRA COMPONENTS
 *==================*/

/*-----------
 * Widgets
 *----------*/
#define LV_USE_CALENDAR     0
#if LV_USE_CALENDAR
# define LV_CALENDAR_WEEK_STARTS_MONDAY 0
# if LV_CALENDAR_WEEK_STARTS_MONDAY
#  define LV_CALENDAR_DEFAULT_DAY_NAMES {"Mo", "Tu", "We", "Th", "Fr", "Sa", "Su"}
# else
#  define LV_CALENDAR_DEFAULT_DAY_NAMES {"Su", "Mo", "Tu", "We", "Th", "Fr", "Sa"}
# endif

# define LV_CALENDAR_DEFAULT_MONTH_NAMES {"January", "February", "March",  "April", "May",  "June", "July", "August", "September", "October", "November", "December"}
# define LV_USE_CALENDAR_HEADER_ARROW       1
# define LV_USE_CALENDAR_HEADER_DROPDOWN    1
#endif  /*LV_USE_CALENDAR*/

#define LV_USE_CHART        1

#define LV_USE_COLORWHEEL   0

#define LV_USE_IMGBTN       0

#define LV_USE_KEYBOARD     0

#define LV_USE_LED          0

#define LV_USE_LIST         1

#define LV_USE_METER        1

#define LV_USE_MSGBOX       1

#define LV_USE_SPINBOX      1

#define LV_USE_SPINNER      1

#define LV_USE_TABVIEW      1

#define LV_USE_TILEVIEW     1

#define LV_USE_WIN          1

#define LV_USE_SPAN         1
#if LV_USE_SPAN
/*A line text can contain maximum num of span descriptor */
#  define LV_SPAN_SNIPPET_STACK_SIZE   64
#endif

/*-----------
 * Themes
 *----------*/
/*A simple, impressive and very complete theme*/
#define LV_USE_THEME_DEFAULT    0
#if LV_USE_THEME_DEFAULT

/*0: Light mode; 1: Dark mode*/
# define LV_THEME_DEFAULT_DARK     0

/*1: Enable grow on press*/
# define LV_THEME_DEFAULT_GROW              0

/*Default transition time in [ms]*/
# define LV_THEME_DEFAULT_TRANSITON_TIME    80
#endif /*LV_USE_THEME_DEFAULT*/

/*An very simple them that is a good starting point for a custom theme*/
 #define LV_USE_THEME_BASIC    0

/*A theme designed for monochrome displays*/
#define LV_USE_THEME_MONO       1

/*-----------
 * Layouts
 *----------*/

/*A layout similar to Flexbox in CSS.*/
#define LV_USE_FLEX     1
#define LV_USE_GROUP    1

/*A layout similar to Grid in CSS.*/
#define LV_USE_GRID     1

/*==================
* EXAMPLES
*==================*/

/*Enable the examples to be built with the library*/
#define LV_BUILD_EXAMPLES   0

/*--END OF LV_CONF_H--*/

#endif /*LV_CONF_H*/

#endif /*End of "Content enable"*/
```
